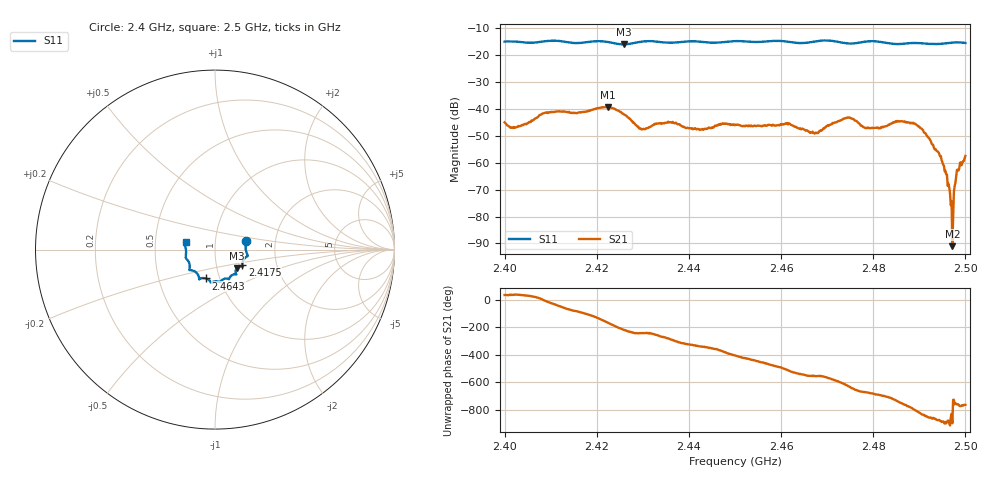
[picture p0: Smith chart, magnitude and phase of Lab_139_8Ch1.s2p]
# Hz S RI R 50
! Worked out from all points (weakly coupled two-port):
!   601 points, 2.4 GHz to 2.5 GHz, reference 50 ohm
!   highest |S21| = -39.23 dB at 2.4225 GHz (marker M1); lowest = -91.0 dB at 2.4972 GHz (marker M2)
!   lowest |S11| = -15.9 dB at 2.4258 GHz (marker M3), VSWR 1.38, Z = 62.3 - j13.2 ohm
!   |S11| at or under -10 dB: start of sweep to end of sweep
!   S12 and S22 are empty: the file has one direction only
!   S11 on the Smith chart (normalised r, x): 2.4 GHz: 1.41, +0.14; 2.4175 GHz: 1.34, -0.23; 2.4643 GHz: 0.86, -0.28; 2.5 GHz: 0.72, +0.06
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2.4e9  0.173 0.0489  0.00475 0.00303  0 0  0 0
2.402167e9  0.1755 0.0397  0.00367 0.00255  0 0  0 0
2.408667e9  0.1801 -0.0266  0.00837 -0.0011  0 0  0 0
2.416667e9  0.1532 -0.0744  -0.000756 -0.00868  0 0  0 0
2.4175e9  0.1521 -0.0839  -0.00203 -0.00871  0 0  0 0
2.4225e9  0.1484 -0.0948  -0.0107 -0.00206  0 0  0 0
2.425833e9  0.1215 -0.1032  -0.00617 0.0051  0 0  0 0
2.429667e9  0.117 -0.1349  -0.00186 0.00374  0 0  0 0
2.433333e9  0.1129 -0.1374  -0.000898 0.00534  0 0  0 0
2.442667e9  0.0714 -0.1629  0.00392 0.00144  0 0  0 0
2.45e9  0.0288 -0.1809  0.00359 -0.00351  0 0  0 0
2.464333e9  -0.05 -0.1607  -0.00418 3.4e-05  0 0  0 0
2.466667e9  -0.0761 -0.1593  -0.00356 0.000792  0 0  0 0
2.474333e9  -0.1002 -0.1326  -0.000871 0.00679  0 0  0 0
2.4785e9  -0.1387 -0.1151  0.003 0.00329  0 0  0 0
2.483333e9  -0.1408 -0.09  0.00498 0.00119  0 0  0 0
2.486667e9  -0.1534 -0.058  0.00454 -0.0037  0 0  0 0
2.490833e9  -0.1626 -0.0357  -0.00165 -0.00364  0 0  0 0
2.4945e9  -0.1626 0.00416  -0.00122 -0.000495  0 0  0 0
2.497167e9  -0.1699 0.0279  -2.8e-05 -1.99e-06  0 0  0 0
2.4985e9  -0.17 0.0349  0.000552 -0.000457  0 0  0 0
2.5e9  -0.1639 0.0428  0.000988 -0.000905  0 0  0 0
